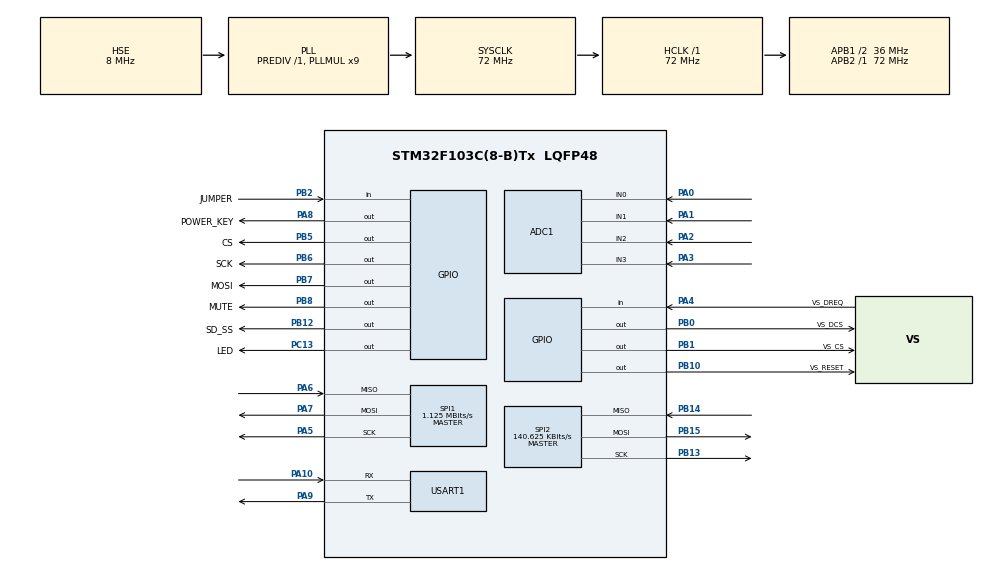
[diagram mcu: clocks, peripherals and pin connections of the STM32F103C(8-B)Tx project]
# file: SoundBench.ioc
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ADC1.Channel-4\#ChannelRegularConversion=ADC_CHANNEL_VREFINT
ADC1.Channel-5\#ChannelRegularConversion=ADC_CHANNEL_0
ADC1.Channel-6\#ChannelRegularConversion=ADC_CHANNEL_TEMPSENSOR
ADC1.Channel-7\#ChannelRegularConversion=ADC_CHANNEL_1
ADC1.Channel-8\#ChannelRegularConversion=ADC_CHANNEL_2
ADC1.Channel-9\#ChannelRegularConversion=ADC_CHANNEL_3
ADC1.ContinuousConvMode=ENABLE
ADC1.NbrOfConversion=6
ADC1.NbrOfConversionFlag=1
ADC1.Rank-4\#ChannelRegularConversion=1
ADC1.Rank-5\#ChannelRegularConversion=2
ADC1.Rank-6\#ChannelRegularConversion=3
ADC1.Rank-7\#ChannelRegularConversion=4
ADC1.Rank-8\#ChannelRegularConversion=5
ADC1.Rank-9\#ChannelRegularConversion=6
ADC1.SamplingTime-4\#ChannelRegularConversion=ADC_SAMPLETIME_239CYCLES_5
ADC1.SamplingTime-5\#ChannelRegularConversion=ADC_SAMPLETIME_239CYCLES_5
ADC1.SamplingTime-6\#ChannelRegularConversion=ADC_SAMPLETIME_239CYCLES_5
ADC1.SamplingTime-7\#ChannelRegularConversion=ADC_SAMPLETIME_71CYCLES_5
ADC1.SamplingTime-8\#ChannelRegularConversion=ADC_SAMPLETIME_71CYCLES_5
ADC1.SamplingTime-9\#ChannelRegularConversion=ADC_SAMPLETIME_71CYCLES_5
ADC1.master=1
Dma.ADC1.0.Direction=DMA_PERIPH_TO_MEMORY
Dma.ADC1.0.Instance=DMA1_Channel1
Dma.ADC1.0.MemDataAlignment=DMA_MDATAALIGN_HALFWORD
Dma.ADC1.0.MemInc=DMA_MINC_ENABLE
Dma.ADC1.0.Mode=DMA_CIRCULAR
Dma.ADC1.0.PeriphDataAlignment=DMA_PDATAALIGN_HALFWORD
Dma.ADC1.0.PeriphInc=DMA_PINC_DISABLE
Dma.ADC1.0.Priority=DMA_PRIORITY_LOW
Dma.Request0=ADC1
Dma.Request1=USART1_RX
Dma.USART1_RX.1.Direction=DMA_PERIPH_TO_MEMORY
Dma.USART1_RX.1.Instance=DMA1_Channel5
Dma.USART1_RX.1.MemDataAlignment=DMA_MDATAALIGN_BYTE
Dma.USART1_RX.1.MemInc=DMA_MINC_ENABLE
Dma.USART1_RX.1.Mode=DMA_CIRCULAR
Dma.USART1_RX.1.PeriphDataAlignment=DMA_PDATAALIGN_BYTE
Dma.USART1_RX.1.PeriphInc=DMA_PINC_DISABLE
Dma.USART1_RX.1.Priority=DMA_PRIORITY_LOW
FATFS._CODE_PAGE=1251
FATFS._FS_LOCK=1
FATFS._FS_MINIMIZE=0
FATFS._FS_NORTC=1
FATFS._FS_TINY=0
FATFS._MAX_LFN=127
FATFS._NORTC_MDAY=1
FATFS._NORTC_MON=1
FATFS._NORTC_YEAR=2018
FATFS._STRF_ENCODE=0
FATFS._USE_FASTSEEK=0
FATFS._USE_FIND=1
FATFS._USE_LFN=3
FATFS._USE_MKFS=0
FATFS._USE_STRFUNC=0
FREERTOS.BinarySemaphores01=SoundSem,Dynamic,NULL;adcReadySem,Dynamic,NULL;lcdSem,Dynamic,NULL;gsmTxSem,Dynamic,NULL
FREERTOS.HEAP_NUMBER=4
FREERTOS.INCLUDE_vTaskDelete=0
FREERTOS.Mutexes01=SDcardMutex,Dynamic,NULL;soundMutex,Dynamic,NULL
FREERTOS.Queues01=SoundQueue,5,filename_t,0,Dynamic,NULL,NULL;KeysQueue,3,uint8_t,0,Dynamic,NULL,NULL
FREERTOS.Tasks01=mainTask,1,768,StartMainTask,Default,NULL,Dynamic,NULL,NULL;GSMTask,-1,128,StartGSMTask,Default,NULL,Dynamic,NULL,NULL;KeysTask,0,128,StartKeysTask,Default,NULL,Dynamic,NULL,NULL;lcdTask,-2,128,StartLcdTask,Default,NULL,Dynamic,NULL,NULL
FREERTOS.configCHECK_FOR_STACK_OVERFLOW=2
FREERTOS.configENABLE_BACKWARD_COMPATIBILITY=0
FREERTOS.configLIBRARY_MAX_SYSCALL_INTERRUPT_PRIORITY=7
FREERTOS.configTOTAL_HEAP_SIZE=10360
FREERTOS.configUSE_MALLOC_FAILED_HOOK=1
Mcu.Family=STM32F1
Mcu.Name=STM32F103C(8-B)Tx
Mcu.Package=LQFP48
NVIC.DMA1_Channel1_IRQn=true\:7\:0\:false\:false\:true\:true\:false
NVIC.DMA1_Channel5_IRQn=true\:7\:0\:false\:false\:true\:true\:false
NVIC.PriorityGroup=NVIC_PRIORITYGROUP_4
NVIC.TIM4_IRQn=true\:0\:0\:false\:false\:true\:false\:false
NVIC.TimeBase=TIM4_IRQn
NVIC.TimeBaseIP=TIM4
PA0-WKUP.Signal=ADCx_IN0
PA1.Signal=ADCx_IN1
PA10.GPIO_PuPd=GPIO_PULLDOWN
PA10.Mode=Asynchronous
PA10.Signal=USART1_RX
PA13.Mode=Trace_Asynchronous_SW
PA13.Signal=SYS_JTMS-SWDIO
PA14.Mode=Trace_Asynchronous_SW
PA14.Signal=SYS_JTCK-SWCLK
PA2.Signal=ADCx_IN2
PA3.Signal=ADCx_IN3
PA4.GPIO_Label=VS_DREQ
PA4.GPIO_PuPd=GPIO_PULLDOWN
PA4.Signal=GPIO_Input
PA5.Mode=Full_Duplex_Master
PA5.Signal=SPI1_SCK
PA6.Mode=Full_Duplex_Master
PA6.Signal=SPI1_MISO
PA7.Mode=Full_Duplex_Master
PA7.Signal=SPI1_MOSI
PA8.GPIO_Label=POWER_KEY
PA8.PinState=GPIO_PIN_SET
PA8.Signal=GPIO_Output
PA9.Mode=Asynchronous
PA9.Signal=USART1_TX
PB0.GPIO_Label=VS_DCS
PB0.Signal=GPIO_Output
PB1.GPIO_Label=VS_CS
PB1.Signal=GPIO_Output
PB10.GPIO_Label=VS_RESET
PB10.Signal=GPIO_Output
PB12.GPIO_Label=SD_SS
PB12.Signal=GPIO_Output
PB13.Mode=Full_Duplex_Master
PB13.Signal=SPI2_SCK
PB14.GPIO_PuPd=GPIO_PULLUP
PB14.Mode=Full_Duplex_Master
PB14.Signal=SPI2_MISO
PB15.Mode=Full_Duplex_Master
PB15.Signal=SPI2_MOSI
PB2.GPIO_Label=JUMPER
PB2.GPIO_PuPd=GPIO_PULLUP
PB2.Signal=GPIO_Input
PB3.Mode=Trace_Asynchronous_SW
PB3.Signal=SYS_JTDO-TRACESWO
PB5.GPIO_Label=CS
PB5.Signal=GPIO_Output
PB6.GPIO_Label=SCK
PB6.Signal=GPIO_Output
PB7.GPIO_Label=MOSI
PB7.Signal=GPIO_Output
PB8.GPIO_Label=MUTE
PB8.PinState=GPIO_PIN_SET
PB8.Signal=GPIO_Output
PC13-TAMPER-RTC.GPIO_Label=LED
PC13-TAMPER-RTC.GPIO_Speed=GPIO_SPEED_FREQ_HIGH
PC13-TAMPER-RTC.PinState=GPIO_PIN_SET
PC13-TAMPER-RTC.Signal=GPIO_Output
PC14-OSC32_IN.Mode=LSE-External-Oscillator
PC14-OSC32_IN.Signal=RCC_OSC32_IN
PC15-OSC32_OUT.Mode=LSE-External-Oscillator
PC15-OSC32_OUT.Signal=RCC_OSC32_OUT
PD0-OSC_IN.Mode=HSE-External-Oscillator
PD0-OSC_IN.Signal=RCC_OSC_IN
PD1-OSC_OUT.Mode=HSE-External-Oscillator
PD1-OSC_OUT.Signal=RCC_OSC_OUT
ProjectManager.HeapSize=0x10
ProjectManager.StackSize=0x300
ProjectManager.TargetToolchain=EWARM
RCC.ADCPresc=RCC_ADCPCLK2_DIV6
RCC.AHBFreq_Value=72000000
RCC.APB1CLKDivider=RCC_HCLK_DIV2
RCC.APB1Freq_Value=36000000
RCC.APB1TimFreq_Value=72000000
RCC.APB2Freq_Value=72000000
RCC.APB2TimFreq_Value=72000000
RCC.HCLKFreq_Value=72000000
RCC.PLLMUL=RCC_PLL_MUL9
RCC.PLLSourceVirtual=RCC_PLLSOURCE_HSE
RCC.SYSCLKFreq_VALUE=72000000
RCC.SYSCLKSource=RCC_SYSCLKSOURCE_PLLCLK
RCC.USBFreq_Value=48000000
RCC.USBPrescaler=RCC_USBCLKSOURCE_PLL_DIV1_5
SH.ADCx_IN0.0=ADC1_IN0,IN0
SH.ADCx_IN1.0=ADC1_IN1,IN1
SH.ADCx_IN2.0=ADC1_IN2,IN2
SH.ADCx_IN3.0=ADC1_IN3,IN3
SPI1.BaudRatePrescaler=SPI_BAUDRATEPRESCALER_64
SPI1.CalculateBaudRate=1.125 MBits/s
SPI1.Direction=SPI_DIRECTION_2LINES
SPI1.Mode=SPI_MODE_MASTER
SPI1.VirtualType=VM_MASTER
SPI2.BaudRatePrescaler=SPI_BAUDRATEPRESCALER_256
SPI2.CLKPhase=SPI_PHASE_1EDGE
SPI2.CLKPolarity=SPI_POLARITY_LOW
SPI2.CalculateBaudRate=140.625 KBits/s
SPI2.Direction=SPI_DIRECTION_2LINES
SPI2.Mode=SPI_MODE_MASTER
SPI2.VirtualType=VM_MASTER
USART1.VirtualMode=VM_ASYNC
VP_ADC1_TempSens_Input.Mode=IN-TempSens
VP_ADC1_Vref_Input.Mode=IN-Vrefint
VP_FATFS_VS_Generic.Mode=User_defined
VP_FREERTOS_VS_ENABLE.Mode=Enabled
VP_RTC_VS_RTC_Activate.Mode=RTC_Enabled
VP_SYS_VS_tim4.Mode=TIM4
board=SoundBench

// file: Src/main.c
/**
  ******************************************************************************
  * @file           : main.c
  * @brief          : Main program body
  ******************************************************************************
  * This notice applies to any and all portions of this file
  * that are not between comment pairs USER CODE BEGIN and
  * USER CODE END. Other portions of this file, whether
  * inserted by the user or by software development tools
  * are owned by their respective copyright owners.
  *
  * Copyright (c) 2018 STMicroelectronics International N.V.
  * All rights reserved.
  *
  * Redistribution and use in source and binary forms, with or without
  * modification, are permitted, provided that the following conditions are met:
  *
  * 1. Redistribution of source code must retain the above copyright notice,
  *    this list of conditions and the following disclaimer.
  * 2. Redistributions in binary form must reproduce the above copyright notice,
  *    this list of conditions and the following disclaimer in the documentation
  *    and/or other materials provided with the distribution.
  * 3. Neither the name of STMicroelectronics nor the names of other
  *    contributors to this software may be used to endorse or promote products
  *    derived from this software without specific written permission.
  * 4. This software, including modifications and/or derivative works of this
  *    software, must execute solely and exclusively on microcontroller or
  *    microprocessor devices manufactured by or for STMicroelectronics.
  * 5. Redistribution and use of this software other than as permitted under
  *    this license is void and will automatically terminate your rights under
  *    this license.
  *
  * THIS SOFTWARE IS PROVIDED BY STMICROELECTRONICS AND CONTRIBUTORS "AS IS"
  * AND ANY EXPRESS, IMPLIED OR STATUTORY WARRANTIES, INCLUDING, BUT NOT
  * LIMITED TO, THE IMPLIED WARRANTIES OF MERCHANTABILITY, FITNESS FOR A
  * PARTICULAR PURPOSE AND NON-INFRINGEMENT OF THIRD PARTY INTELLECTUAL PROPERTY
  * RIGHTS ARE DISCLAIMED TO THE FULLEST EXTENT PERMITTED BY LAW. IN NO EVENT
  * SHALL STMICROELECTRONICS OR CONTRIBUTORS BE LIABLE FOR ANY DIRECT, INDIRECT,
  * INCIDENTAL, SPECIAL, EXEMPLARY, OR CONSEQUENTIAL DAMAGES (INCLUDING, BUT NOT
  * LIMITED TO, PROCUREMENT OF SUBSTITUTE GOODS OR SERVICES; LOSS OF USE, DATA,
  * OR PROFITS; OR BUSINESS INTERRUPTION) HOWEVER CAUSED AND ON ANY THEORY OF
  * LIABILITY, WHETHER IN CONTRACT, STRICT LIABILITY, OR TORT (INCLUDING
  * NEGLIGENCE OR OTHERWISE) ARISING IN ANY WAY OUT OF THE USE OF THIS SOFTWARE,
  * EVEN IF ADVISED OF THE POSSIBILITY OF SUCH DAMAGE.
  *
  ******************************************************************************
  */
#include "main.h"
#include "stm32f1xx_hal.h"
#include "cmsis_os.h"
#include "fatfs.h"

/* USER CODE BEGIN Includes */

#include "my/myTypes.h"
#include "my/myTasks.h"

/* USER CODE END Includes */

ADC_HandleTypeDef hadc1;
DMA_HandleTypeDef hdma_adc1;

RTC_HandleTypeDef hrtc;

SPI_HandleTypeDef hspi1;
SPI_HandleTypeDef hspi2;

UART_HandleTypeDef huart1;
DMA_HandleTypeDef hdma_usart1_rx;

osThreadId mainTaskHandle;
osThreadId GSMTaskHandle;
osThreadId KeysTaskHandle;
osThreadId lcdTaskHandle;
osMessageQId SoundQueueHandle;
osMessageQId KeysQueueHandle;
osMutexId SDcardMutexHandle;
osMutexId soundMutexHandle;
osSemaphoreId SoundSemHandle;
osSemaphoreId adcReadySemHandle;
osSemaphoreId lcdSemHandle;
osSemaphoreId gsmTxSemHandle;

/* USER CODE BEGIN PV */
/* Private variables ---------------------------------------------------------*/

/* USER CODE END PV */

void SystemClock_Config(void);
static void MX_GPIO_Init(void);
static void MX_DMA_Init(void);
static void MX_RTC_Init(void);
static void MX_SPI1_Init(void);
static void MX_SPI2_Init(void);
static void MX_ADC1_Init(void);
static void MX_USART1_UART_Init(void);
void StartMainTask(void const * argument);
void StartGSMTask(void const * argument);
void StartKeysTask(void const * argument);
void StartLcdTask(void const * argument);

/* USER CODE BEGIN PFP */
/* Private function prototypes -----------------------------------------------*/

/* USER CODE END PFP */

/* USER CODE BEGIN 0 */

#define __DEBUG 1

/* USER CODE END 0 */

int main(void)
{

  /* MCU Configuration----------------------------------------------------------*/

  /* Reset of all peripherals, Initializes the Flash interface and the Systick. */
  HAL_Init();

  /* Configure the system clock */
  SystemClock_Config();

  /* Initialize all configured peripherals */
  MX_GPIO_Init();
  MX_DMA_Init();
  MX_RTC_Init();
  MX_SPI1_Init();
  MX_SPI2_Init();
  MX_ADC1_Init();
  MX_USART1_UART_Init();

  /* Create the mutex(es) */
  /* definition and creation of SDcardMutex */
  osMutexDef(SDcardMutex);
  SDcardMutexHandle = osMutexCreate(osMutex(SDcardMutex));

  /* definition and creation of soundMutex */
  osMutexDef(soundMutex);
  soundMutexHandle = osMutexCreate(osMutex(soundMutex));

  /* Create the semaphores(s) */
  /* definition and creation of SoundSem */
  osSemaphoreDef(SoundSem);
  SoundSemHandle = osSemaphoreCreate(osSemaphore(SoundSem), 1);

  /* definition and creation of adcReadySem */
  osSemaphoreDef(adcReadySem);
  adcReadySemHandle = osSemaphoreCreate(osSemaphore(adcReadySem), 1);

  /* definition and creation of lcdSem */
  osSemaphoreDef(lcdSem);
  lcdSemHandle = osSemaphoreCreate(osSemaphore(lcdSem), 1);

  /* definition and creation of gsmTxSem */
  osSemaphoreDef(gsmTxSem);
  gsmTxSemHandle = osSemaphoreCreate(osSemaphore(gsmTxSem), 1);

  /* Create the thread(s) */
  /* definition and creation of mainTask */
  osThreadDef(mainTask, StartMainTask, osPriorityAboveNormal, 0, 768);
  mainTaskHandle = osThreadCreate(osThread(mainTask), NULL);

  /* definition and creation of GSMTask */
  osThreadDef(GSMTask, StartGSMTask, osPriorityBelowNormal, 0, 128);
  GSMTaskHandle = osThreadCreate(osThread(GSMTask), NULL);

  /* definition and creation of KeysTask */
  osThreadDef(KeysTask, StartKeysTask, osPriorityNormal, 0, 128);
  KeysTaskHandle = osThreadCreate(osThread(KeysTask), NULL);

  /* definition and creation of lcdTask */
  osThreadDef(lcdTask, StartLcdTask, osPriorityLow, 0, 128);
  lcdTaskHandle = osThreadCreate(osThread(lcdTask), NULL);

  /* Create the queue(s) */
  /* definition and creation of SoundQueue */
  osMessageQDef(SoundQueue, 5, filename_t);
  SoundQueueHandle = osMessageCreate(osMessageQ(SoundQueue), NULL);

  /* definition and creation of KeysQueue */
  osMessageQDef(KeysQueue, 3, uint8_t);
  KeysQueueHandle = osMessageCreate(osMessageQ(KeysQueue), NULL);

  /* USER CODE BEGIN RTOS_QUEUES */
  /* add queues, ... */
  printf("Start!\n");
  /* USER CODE END RTOS_QUEUES */

  /* Start scheduler */
  osKernelStart();

  /* We should never get here as control is now taken by the scheduler */

  /* Infinite loop */
  while (1)
  {

  }

}

void SystemClock_Config(void)
{

  RCC_OscInitTypeDef RCC_OscInitStruct;
  RCC_ClkInitTypeDef RCC_ClkInitStruct;
  RCC_PeriphCLKInitTypeDef PeriphClkInit;

    /**Initializes the CPU, AHB and APB busses clocks
    */
  RCC_OscInitStruct.OscillatorType = RCC_OSCILLATORTYPE_LSI|RCC_OSCILLATORTYPE_HSE;
  RCC_OscInitStruct.HSEState = RCC_HSE_ON;
  RCC_OscInitStruct.HSEPredivValue = RCC_HSE_PREDIV_DIV1;
  RCC_OscInitStruct.HSIState = RCC_HSI_ON;
  RCC_OscInitStruct.LSIState = RCC_LSI_ON;
  RCC_OscInitStruct.PLL.PLLState = RCC_PLL_ON;
  RCC_OscInitStruct.PLL.PLLSource = RCC_PLLSOURCE_HSE;
  RCC_OscInitStruct.PLL.PLLMUL = RCC_PLL_MUL9;
  if (HAL_RCC_OscConfig(&RCC_OscInitStruct) != HAL_OK)
  {
    _Error_Handler(__FILE__, __LINE__);
  }

    /**Initializes the CPU, AHB and APB busses clocks
    */
  RCC_ClkInitStruct.ClockType = RCC_CLOCKTYPE_HCLK|RCC_CLOCKTYPE_SYSCLK
                              |RCC_CLOCKTYPE_PCLK1|RCC_CLOCKTYPE_PCLK2;
  RCC_ClkInitStruct.SYSCLKSource = RCC_SYSCLKSOURCE_PLLCLK;
  RCC_ClkInitStruct.AHBCLKDivider = RCC_SYSCLK_DIV1;
  RCC_ClkInitStruct.APB1CLKDivider = RCC_HCLK_DIV2;
  RCC_ClkInitStruct.APB2CLKDivider = RCC_HCLK_DIV1;

  if (HAL_RCC_ClockConfig(&RCC_ClkInitStruct, FLASH_LATENCY_2) != HAL_OK)
  {
    _Error_Handler(__FILE__, __LINE__);
  }

  PeriphClkInit.PeriphClockSelection = RCC_PERIPHCLK_RTC|RCC_PERIPHCLK_ADC;
  PeriphClkInit.RTCClockSelection = RCC_RTCCLKSOURCE_LSI;
  PeriphClkInit.AdcClockSelection = RCC_ADCPCLK2_DIV6;
  if (HAL_RCCEx_PeriphCLKConfig(&PeriphClkInit) != HAL_OK)
  {
    _Error_Handler(__FILE__, __LINE__);
  }

    /**Configure the Systick interrupt time
    */
  HAL_SYSTICK_Config(HAL_RCC_GetHCLKFreq()/1000);

    /**Configure the Systick
    */
  HAL_SYSTICK_CLKSourceConfig(SYSTICK_CLKSOURCE_HCLK);

  /* SysTick_IRQn interrupt configuration */
  HAL_NVIC_SetPriority(SysTick_IRQn, 15, 0);
}

/* ADC1 init function */
static void MX_ADC1_Init(void)
{

  ADC_ChannelConfTypeDef sConfig;

    /**Common config
    */
  hadc1.Instance = ADC1;
  hadc1.Init.ScanConvMode = ADC_SCAN_ENABLE;
  hadc1.Init.ContinuousConvMode = ENABLE;
  hadc1.Init.DiscontinuousConvMode = DISABLE;
  hadc1.Init.ExternalTrigConv = ADC_SOFTWARE_START;
  hadc1.Init.DataAlign = ADC_DATAALIGN_RIGHT;
  hadc1.Init.NbrOfConversion = 6;
  if (HAL_ADC_Init(&hadc1) != HAL_OK)
  {
    _Error_Handler(__FILE__, __LINE__);
  }

    /**Configure Regular Channel
    */
  sConfig.Channel = ADC_CHANNEL_VREFINT;
  sConfig.Rank = ADC_REGULAR_RANK_1;
  sConfig.SamplingTime = ADC_SAMPLETIME_239CYCLES_5;
  if (HAL_ADC_ConfigChannel(&hadc1, &sConfig) != HAL_OK)
  {
    _Error_Handler(__FILE__, __LINE__);
  }

    /**Configure Regular Channel
    */
  sConfig.Channel = ADC_CHANNEL_0;
  sConfig.Rank = ADC_REGULAR_RANK_2;
  if (HAL_ADC_ConfigChannel(&hadc1, &sConfig) != HAL_OK)
  {
    _Error_Handler(__FILE__, __LINE__);
  }

    /**Configure Regular Channel
    */
  sConfig.Channel = ADC_CHANNEL_TEMPSENSOR;
  sConfig.Rank = ADC_REGULAR_RANK_3;
  if (HAL_ADC_ConfigChannel(&hadc1, &sConfig) != HAL_OK)
  {
    _Error_Handler(__FILE__, __LINE__);
  }

    /**Configure Regular Channel
    */
  sConfig.Channel = ADC_CHANNEL_1;
  sConfig.Rank = ADC_REGULAR_RANK_4;
  sConfig.SamplingTime = ADC_SAMPLETIME_71CYCLES_5;
  if (HAL_ADC_ConfigChannel(&hadc1, &sConfig) != HAL_OK)
  {
    _Error_Handler(__FILE__, __LINE__);
  }

    /**Configure Regular Channel
    */
  sConfig.Channel = ADC_CHANNEL_2;
  sConfig.Rank = ADC_REGULAR_RANK_5;
  if (HAL_ADC_ConfigChannel(&hadc1, &sConfig) != HAL_OK)
  {
    _Error_Handler(__FILE__, __LINE__);
  }

    /**Configure Regular Channel
    */
  sConfig.Channel = ADC_CHANNEL_3;
  sConfig.Rank = ADC_REGULAR_RANK_6;
  if (HAL_ADC_ConfigChannel(&hadc1, &sConfig) != HAL_OK)
  {
    _Error_Handler(__FILE__, __LINE__);
  }

}

/* RTC init function */
static void MX_RTC_Init(void)
{

    /**Initialize RTC Only
    */
  hrtc.Instance = RTC;
  hrtc.Init.AsynchPrediv = RTC_AUTO_1_SECOND;
  hrtc.Init.OutPut = RTC_OUTPUTSOURCE_ALARM;
  if (HAL_RTC_Init(&hrtc) != HAL_OK)
  {
    _Error_Handler(__FILE__, __LINE__);
  }

}

/* SPI1 init function */
static void MX_SPI1_Init(void)
{

  /* SPI1 parameter configuration*/
  hspi1.Instance = SPI1;
  hspi1.Init.Mode = SPI_MODE_MASTER;
  hspi1.Init.Direction = SPI_DIRECTION_2LINES;
  hspi1.Init.DataSize = SPI_DATASIZE_8BIT;
  hspi1.Init.CLKPolarity = SPI_POLARITY_LOW;
  hspi1.Init.CLKPhase = SPI_PHASE_1EDGE;
  hspi1.Init.NSS = SPI_NSS_SOFT;
  hspi1.Init.BaudRatePrescaler = SPI_BAUDRATEPRESCALER_64;
  hspi1.Init.FirstBit = SPI_FIRSTBIT_MSB;
  hspi1.Init.TIMode = SPI_TIMODE_DISABLE;
  hspi1.Init.CRCCalculation = SPI_CRCCALCULATION_DISABLE;
  hspi1.Init.CRCPolynomial = 10;
  if (HAL_SPI_Init(&hspi1) != HAL_OK)
  {
    _Error_Handler(__FILE__, __LINE__);
  }

}

/* SPI2 init function */
static void MX_SPI2_Init(void)
{

  /* SPI2 parameter configuration*/
  hspi2.Instance = SPI2;
  hspi2.Init.Mode = SPI_MODE_MASTER;
  hspi2.Init.Direction = SPI_DIRECTION_2LINES;
  hspi2.Init.DataSize = SPI_DATASIZE_8BIT;
  hspi2.Init.CLKPolarity = SPI_POLARITY_LOW;
  hspi2.Init.CLKPhase = SPI_PHASE_1EDGE;
  hspi2.Init.NSS = SPI_NSS_SOFT;
  hspi2.Init.BaudRatePrescaler = SPI_BAUDRATEPRESCALER_256;
  hspi2.Init.FirstBit = SPI_FIRSTBIT_MSB;
  hspi2.Init.TIMode = SPI_TIMODE_DISABLE;
  hspi2.Init.CRCCalculation = SPI_CRCCALCULATION_DISABLE;
  hspi2.Init.CRCPolynomial = 10;
  if (HAL_SPI_Init(&hspi2) != HAL_OK)
  {
    _Error_Handler(__FILE__, __LINE__);
  }

}

/* USART1 init function */
static void MX_USART1_UART_Init(void)
{

  huart1.Instance = USART1;
  huart1.Init.BaudRate = 115200;
  huart1.Init.WordLength = UART_WORDLENGTH_8B;
  huart1.Init.StopBits = UART_STOPBITS_1;
  huart1.Init.Parity = UART_PARITY_NONE;
  huart1.Init.Mode = UART_MODE_TX_RX;
  huart1.Init.HwFlowCtl = UART_HWCONTROL_NONE;
  huart1.Init.OverSampling = UART_OVERSAMPLING_16;
  if (HAL_UART_Init(&huart1) != HAL_OK)
  {
    _Error_Handler(__FILE__, __LINE__);
  }

}

static void MX_DMA_Init(void)
{
  /* DMA controller clock enable */
  __HAL_RCC_DMA1_CLK_ENABLE();

  /* DMA interrupt init */
  /* DMA1_Channel1_IRQn interrupt configuration */
  HAL_NVIC_SetPriority(DMA1_Channel1_IRQn, 7, 0);
  HAL_NVIC_EnableIRQ(DMA1_Channel1_IRQn);
  /* DMA1_Channel5_IRQn interrupt configuration */
  HAL_NVIC_SetPriority(DMA1_Channel5_IRQn, 7, 0);
  HAL_NVIC_EnableIRQ(DMA1_Channel5_IRQn);

}

/** Configure pins as
        * Analog
        * Input
        * Output
        * EVENT_OUT
        * EXTI
*/
static void MX_GPIO_Init(void)
{

  GPIO_InitTypeDef GPIO_InitStruct;

  /* GPIO Ports Clock Enable */
  __HAL_RCC_GPIOC_CLK_ENABLE();
  __HAL_RCC_GPIOD_CLK_ENABLE();
  __HAL_RCC_GPIOA_CLK_ENABLE();
  __HAL_RCC_GPIOB_CLK_ENABLE();

  /*Configure GPIO pin Output Level */
  HAL_GPIO_WritePin(LED_GPIO_Port, LED_Pin, GPIO_PIN_SET);

  /*Configure GPIO pin Output Level */
  HAL_GPIO_WritePin(GPIOB, VS_DCS_Pin|VS_CS_Pin|VS_RESET_Pin|SD_SS_Pin
                          |CS_Pin|SCK_Pin|MOSI_Pin, GPIO_PIN_RESET);

  /*Configure GPIO pin Output Level */
  HAL_GPIO_WritePin(POWER_KEY_GPIO_Port, POWER_KEY_Pin, GPIO_PIN_SET);

  /*Configure GPIO pin Output Level */
  HAL_GPIO_WritePin(MUTE_GPIO_Port, MUTE_Pin, GPIO_PIN_SET);

  /*Configure GPIO pin : LED_Pin */
  GPIO_InitStruct.Pin = LED_Pin;
  GPIO_InitStruct.Mode = GPIO_MODE_OUTPUT_PP;
  GPIO_InitStruct.Speed = GPIO_SPEED_FREQ_HIGH;
  HAL_GPIO_Init(LED_GPIO_Port, &GPIO_InitStruct);

  /*Configure GPIO pin : VS_DREQ_Pin */
  GPIO_InitStruct.Pin = VS_DREQ_Pin;
  GPIO_InitStruct.Mode = GPIO_MODE_INPUT;
  GPIO_InitStruct.Pull = GPIO_PULLDOWN;
  HAL_GPIO_Init(VS_DREQ_GPIO_Port, &GPIO_InitStruct);

  /*Configure GPIO pins : VS_DCS_Pin VS_CS_Pin VS_RESET_Pin SD_SS_Pin
                           CS_Pin SCK_Pin MOSI_Pin MUTE_Pin */
  GPIO_InitStruct.Pin = VS_DCS_Pin|VS_CS_Pin|VS_RESET_Pin|SD_SS_Pin
                          |CS_Pin|SCK_Pin|MOSI_Pin|MUTE_Pin;
  GPIO_InitStruct.Mode = GPIO_MODE_OUTPUT_PP;
  GPIO_InitStruct.Speed = GPIO_SPEED_FREQ_LOW;
  HAL_GPIO_Init(GPIOB, &GPIO_InitStruct);

  /*Configure GPIO pin : JUMPER_Pin */
  GPIO_InitStruct.Pin = JUMPER_Pin;
  GPIO_InitStruct.Mode = GPIO_MODE_INPUT;
  GPIO_InitStruct.Pull = GPIO_PULLUP;
  HAL_GPIO_Init(JUMPER_GPIO_Port, &GPIO_InitStruct);

  /*Configure GPIO pin : POWER_KEY_Pin */
  GPIO_InitStruct.Pin = POWER_KEY_Pin;
  GPIO_InitStruct.Mode = GPIO_MODE_OUTPUT_PP;
  GPIO_InitStruct.Speed = GPIO_SPEED_FREQ_LOW;
  HAL_GPIO_Init(POWER_KEY_GPIO_Port, &GPIO_InitStruct);

}

/* StartMainTask function */
void StartMainTask(void const * argument)
{
  /* init code for FATFS */
  MX_FATFS_Init();

  /* USER CODE BEGIN 5 */

#ifndef __DEBUG
  InitMainTask();
#endif

  /* Infinite loop */
  for(;;)
  {
#ifndef __DEBUG
    MainTask();
#endif
    osDelay(1);
  }
  /* USER CODE END 5 */
}

/* StartGSMTask function */
void StartGSMTask(void const * argument)
{
  /* USER CODE BEGIN StartGSMTask */
#ifdef __DEBUG
    InitGsmTask();
#endif
    /* Infinite loop */
  for(;;)
  {
#ifdef __DEBUG
    gsmTask();
#endif
    osDelay(1);
  }
  /* USER CODE END StartGSMTask */
}

/* StartKeysTask function */
void StartKeysTask(void const * argument)
{
  /* USER CODE BEGIN StartKeysTask */
#ifndef __DEBUG
    InitKeysTask();
#endif
    /* Infinite loop */
  for(;;)
  {
#ifndef __DEBUG
    KeysTask();
#endif
    osDelay(1);
  }
  /* USER CODE END StartKeysTask */
}

/* StartLcdTask function */
void StartLcdTask(void const * argument)
{
  /* USER CODE BEGIN StartLcdTask */
#ifndef __DEBUG
    InitLcdTask();
 #endif
  /* Infinite loop */
  for(;;)
  {
#ifndef __DEBUG
    LcdTask();
  #endif
    osDelay(1);
  }
  /* USER CODE END StartLcdTask */
}

void HAL_TIM_PeriodElapsedCallback(TIM_HandleTypeDef *htim)
{
  if (htim->Instance == TIM4) {
    HAL_IncTick();
  }
}

void _Error_Handler(char *file, int line)
{
  /* USER CODE BEGIN Error_Handler_Debug */
  /* User can add his own implementation to report the HAL error return state */
  printf("Error handler!\n");
  printf ("(%s - line %d)\n", file, line);
  while(1)
  {
  }
  /* USER CODE END Error_Handler_Debug */
}

/************************ (C) COPYRIGHT STMicroelectronics *****END OF FILE****/

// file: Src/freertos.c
/**
  ******************************************************************************
  * File Name          : freertos.c
  * Description        : Code for freertos applications
  ******************************************************************************
  * This notice applies to any and all portions of this file
  * that are not between comment pairs USER CODE BEGIN and
  * USER CODE END. Other portions of this file, whether
  * inserted by the user or by software development tools
  * are owned by their respective copyright owners.
  *
  * Copyright (c) 2018 STMicroelectronics International N.V.
  * All rights reserved.
  *
  * Redistribution and use in source and binary forms, with or without
  * modification, are permitted, provided that the following conditions are met:
  *
  * 1. Redistribution of source code must retain the above copyright notice,
  *    this list of conditions and the following disclaimer.
  * 2. Redistributions in binary form must reproduce the above copyright notice,
  *    this list of conditions and the following disclaimer in the documentation
  *    and/or other materials provided with the distribution.
  * 3. Neither the name of STMicroelectronics nor the names of other
  *    contributors to this software may be used to endorse or promote products
  *    derived from this software without specific written permission.
  * 4. This software, including modifications and/or derivative works of this
  *    software, must execute solely and exclusively on microcontroller or
  *    microprocessor devices manufactured by or for STMicroelectronics.
  * 5. Redistribution and use of this software other than as permitted under
  *    this license is void and will automatically terminate your rights under
  *    this license.
  *
  * THIS SOFTWARE IS PROVIDED BY STMICROELECTRONICS AND CONTRIBUTORS "AS IS"
  * AND ANY EXPRESS, IMPLIED OR STATUTORY WARRANTIES, INCLUDING, BUT NOT
  * LIMITED TO, THE IMPLIED WARRANTIES OF MERCHANTABILITY, FITNESS FOR A
  * PARTICULAR PURPOSE AND NON-INFRINGEMENT OF THIRD PARTY INTELLECTUAL PROPERTY
  * RIGHTS ARE DISCLAIMED TO THE FULLEST EXTENT PERMITTED BY LAW. IN NO EVENT
  * SHALL STMICROELECTRONICS OR CONTRIBUTORS BE LIABLE FOR ANY DIRECT, INDIRECT,
  * INCIDENTAL, SPECIAL, EXEMPLARY, OR CONSEQUENTIAL DAMAGES (INCLUDING, BUT NOT
  * LIMITED TO, PROCUREMENT OF SUBSTITUTE GOODS OR SERVICES; LOSS OF USE, DATA,
  * OR PROFITS; OR BUSINESS INTERRUPTION) HOWEVER CAUSED AND ON ANY THEORY OF
  * LIABILITY, WHETHER IN CONTRACT, STRICT LIABILITY, OR TORT (INCLUDING
  * NEGLIGENCE OR OTHERWISE) ARISING IN ANY WAY OUT OF THE USE OF THIS SOFTWARE,
  * EVEN IF ADVISED OF THE POSSIBILITY OF SUCH DAMAGE.
  *
  ******************************************************************************
  */

#include "FreeRTOS.h"
#include "task.h"

/* Hook prototypes */
void vApplicationStackOverflowHook(TaskHandle_t xTask, signed char *pcTaskName);
void vApplicationMallocFailedHook(void);

/* USER CODE BEGIN 4 */
__weak void vApplicationStackOverflowHook(TaskHandle_t xTask, signed char *pcTaskName)
{
   /* Run time stack overflow checking is performed if
   configCHECK_FOR_STACK_OVERFLOW is defined to 1 or 2. This hook function is
   called if a stack overflow is detected. */
}
/* USER CODE END 4 */

/* USER CODE BEGIN 5 */
__weak void vApplicationMallocFailedHook(void)
{
   /* vApplicationMallocFailedHook() will only be called if
   configUSE_MALLOC_FAILED_HOOK is set to 1 in FreeRTOSConfig.h. It is a hook
   function that will get called if a call to pvPortMalloc() fails.
   pvPortMalloc() is called internally by the kernel whenever a task, queue,
   timer or semaphore is created. It is also called by various parts of the
   demo application. If heap_1.c or heap_2.c are used, then the size of the
   heap available to pvPortMalloc() is defined by configTOTAL_HEAP_SIZE in
   FreeRTOSConfig.h, and the xPortGetFreeHeapSize() API function can be used
   to query the size of free heap space that remains (although it does not
   provide information on how the remaining heap might be fragmented). */
}
/* USER CODE END 5 */

/************************ (C) COPYRIGHT STMicroelectronics *****END OF FILE****/
